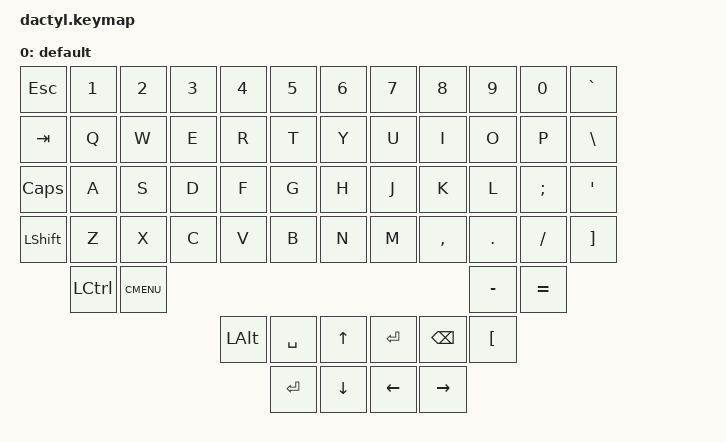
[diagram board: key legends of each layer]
/*
 * Copyright (c) 2020 The ZMK Contributors
 *
 * SPDX-License-Identifier: MIT
 */

#include <behaviors.dtsi>
#include <dt-bindings/zmk/keys.h>
#include <dt-bindings/zmk/bt.h>
#include <dt-bindings/zmk/rgb.h>
#include <dt-bindings/zmk/ext_power.h>

#define BASE 0

/ {


    keymap {
        compatible = "zmk,keymap";

        default_layer {
            display-name = "default";
// ------------------------------------------------------------------------------------------------------------
// |   `   |  1  |  2  |  3   |  4   |  5   |                   |  6   |  7    |  8    |  9   |   0   |       |
// |  ESC  |  Q  |  W  |  E   |  R   |  T   |                   |  Y   |  U    |  I    |  O   |   P   | BKSPC |
// |  TAB  |  A  |  S  |  D   |  F   |  G   |                   |  H   |  J    |  K    |  L   |   ;   |   '   |
// | SHIFT |  Z  |  X  |  C   |  V   |  B   |  MUTE  |  |       |  N   |  M    |  ,    |  .   |   /   | SHIFT |
//               | GUI | ALT  | CTRL | LOWER|  ENTER |  | SPACE | RAISE| CTRL  | ALT   | GUI  |
            bindings = <
&kp ESC     &kp N1     &kp N2  &kp N3    &kp N4    &kp N5  &kp N6     &kp N7           &kp N8        &kp N9          &kp N0             &kp GRAVE
&kp TAB     &kp Q      &kp W   &kp E     &kp R     &kp T   &kp Y      &kp U            &kp I         &kp O           &kp P              &kp BSLH
&kp CAPS    &kp A      &kp S   &kp D     &kp F     &kp G   &kp H      &kp J            &kp K         &kp L           &kp SEMI           &kp SQT
&kp LSHIFT  &kp Z      &kp X   &kp C     &kp V     &kp B   &kp N      &kp M            &kp COMMA     &kp DOT         &kp FSLH           &kp RBKT
                 &kp LCTRL &kp K_CMENU                                                               &kp MINUS  &kp EQUAL
                                       &kp LALT &kp SPACE &kp UP       &kp ENTER  &kp BSPC  &kp LBKT
                                                &kp ENTER &kp DOWN     &kp LEFT   &kp RIGHT
            >;
        };

    };
};
